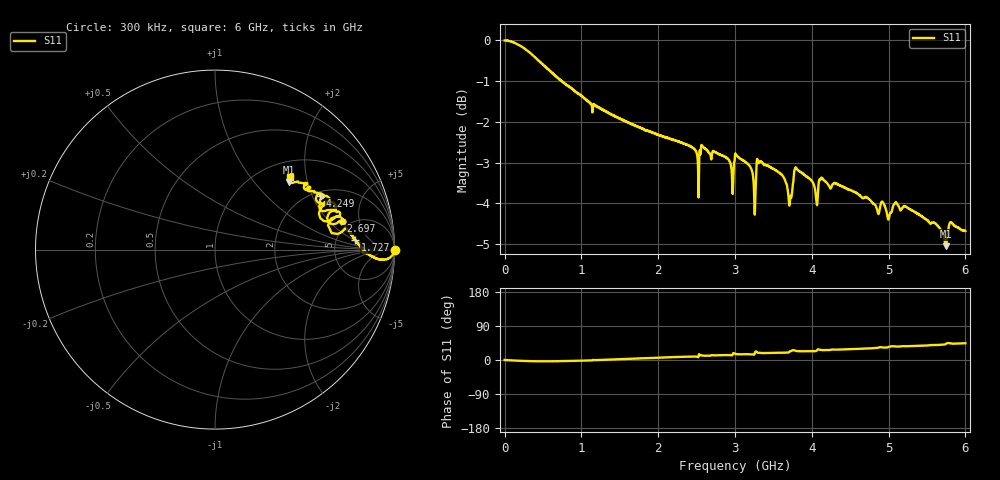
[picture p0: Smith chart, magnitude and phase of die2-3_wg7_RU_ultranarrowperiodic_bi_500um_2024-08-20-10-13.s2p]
!Keysight Technologies,P9374A,MY57304198,A.17.20.09
!Date: Tuesday, August 20, 2024 10:13:04
!Correction: S11(C  1-Port  )
!S21(C  1-Port  )
!S12(Off)
!S22(Off)
!S2P File: Measurements: S11, S21, S12, S22:
# Hz S  dB  R 50
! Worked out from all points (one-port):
!   6000 points, 300 kHz to 6 GHz, reference 50 ohm
!   lowest |S11| = -5.1 dB at 5.745 GHz (marker M1), VSWR 3.53, Z = 70.6 + j77.4 ohm
!   |S11| at or under -10 dB: nowhere
!   S11 on the Smith chart (normalised r, x): 300 kHz: open; 1.727 GHz: 7.68, +2.08; 2.697 GHz: 4.21, +2.81; 4.249 GHz: 2.16, +2.30; 6 GHz: 1.31, +1.61
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300000  0.00 -0.0  -200.00 45.0  -200.00 45.0  -200.00 45.0
4.093477e8  -0.43 -3.3  -200.00 45.0  -200.00 45.0  -200.00 45.0
1.000417e9  -1.36 -1.8  -200.00 45.0  -200.00 45.0  -200.00 45.0
1.726501e9  -2.11 3.8  -200.00 45.0  -200.00 45.0  -200.00 45.0
2.000533e9  -2.32 6.0  -200.00 45.0  -200.00 45.0  -200.00 45.0
2.526595e9  -3.82 12.2  -200.00 45.0  -200.00 45.0  -200.00 45.0
2.696615e9  -2.84 12.8  -200.00 45.0  -200.00 45.0  -200.00 45.0
2.939643e9  -3.01 12.7  -200.00 45.0  -200.00 45.0  -200.00 45.0
3.00065e9  -2.80 16.9  -200.00 45.0  -200.00 45.0  -200.00 45.0
3.226676e9  -3.24 14.8  -200.00 45.0  -200.00 45.0  -200.00 45.0
3.291684e9  -2.92 19.7  -200.00 45.0  -200.00 45.0  -200.00 45.0
3.59972e9  -3.29 19.2  -200.00 45.0  -200.00 45.0  -200.00 45.0
3.679729e9  -3.59 19.3  -200.00 45.0  -200.00 45.0  -200.00 45.0
3.726735e9  -3.83 23.3  -200.00 45.0  -200.00 45.0  -200.00 45.0
3.808744e9  -3.16 23.4  -200.00 45.0  -200.00 45.0  -200.00 45.0
4.000767e9  -3.46 23.4  -200.00 45.0  -200.00 45.0  -200.00 45.0
4.066774e9  -4.04 25.6  -200.00 45.0  -200.00 45.0  -200.00 45.0
4.248796e9  -3.62 27.2  -200.00 45.0  -200.00 45.0  -200.00 45.0
5.000883e9  -4.39 34.7  -200.00 45.0  -200.00 45.0  -200.00 45.0
5.379928e9  -4.26 37.2  -200.00 45.0  -200.00 45.0  -200.00 45.0
5.74497e9  -5.06 42.4  -200.00 45.0  -200.00 45.0  -200.00 45.0
6e9  -4.69 44.2  -200.00 45.0  -200.00 45.0  -200.00 45.0
